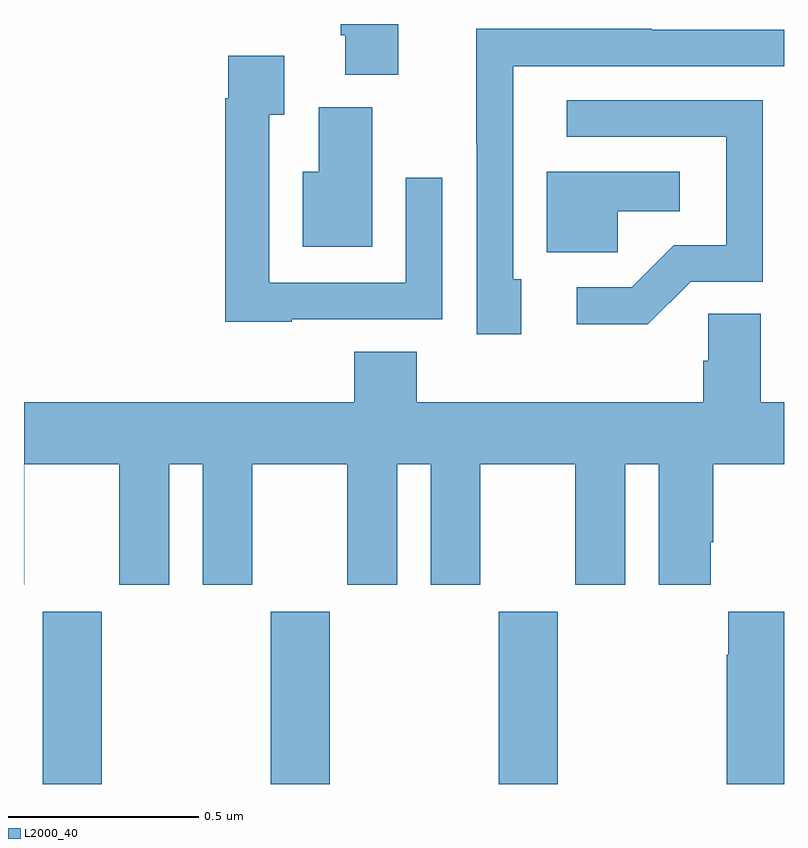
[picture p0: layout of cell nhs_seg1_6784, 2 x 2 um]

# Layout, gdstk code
import gdstk
lib = gdstk.Library(unit=1e-6, precision=1e-09)
def R(c, l, rs):  # rectangles x0, y0, x1, y1
    for r in rs: c.add(gdstk.rectangle(r[:2], r[2:], *l))
def A(c, l, x, y, w, h, nx, ny, dx, dy):  # array of equal rectangles
    R(c, l, [(x+i*dx, y+j*dy, x+i*dx+w, y+j*dy+h) for i in range(nx) for j in range(ny)])
def P(c, l, *ps):  # polygons
    for p in ps: c.add(gdstk.Polygon(p, *l))
L2000_40 = (2000, 40)

nhs_seg1_6784 = lib.new_cell('nhs_seg1_6784')
A(nhs_seg1_6784, L2000_40, 195.049, 576.199, 0.155, 0.453, 3, 1, 0.6, 0)
P(nhs_seg1_6784, L2000_40, [(195.985,578.199),(195.833,578.199),(195.833,578.17),(195.845,578.17),(195.845,578.065),(195.985,578.065)],
  [(196.309,577.527),(196.287,577.527),(196.287,578.088),(197,578.088),(197,578.184),(196.652,578.184),(196.652,578.186),(196.19,578.186),(196.19,577.882),(196.191,577.882),(196.191,577.383),(196.309,577.383)],
  [(195.705,577.422),(196.101,577.422),(196.101,577.795),(196.005,577.795),(196.005,577.518),(195.645,577.518),(195.645,577.96),(195.685,577.96),(195.685,578.116),(195.537,578.116),(195.537,578.003),(195.529,578.003),(195.529,577.415),(195.705,577.415)],
  [(196.755,577.521),(196.944,577.521),(196.944,577.998),(196.428,577.998),(196.428,577.902),(196.848,577.902),(196.848,577.617),(196.71,577.617),(196.599,577.506),(196.455,577.506),(196.455,577.409),(196.642,577.409)],
  [(195.916,577.98),(195.776,577.98),(195.776,577.81),(195.734,577.81),(195.734,577.613),(195.916,577.613)],
  [(196.563,577.706),(196.726,577.706),(196.726,577.81),(196.376,577.81),(196.376,577.599),(196.563,577.599)],
  [(195.001,577.04),(195.251,577.04),(195.251,576.723),(195.382,576.723),(195.382,577.04),(195.47,577.04),(195.47,576.723),(195.601,576.723),(195.601,577.04),(195.851,577.04),(195.851,576.723),(195.982,576.723),(195.982,577.04),(196.07,577.04),(196.07,576.723),(196.201,576.723),(196.201,577.04),(196.451,577.04),(196.451,576.723),(196.582,576.723),(196.582,577.04),(196.67,577.04),(196.67,576.723),(196.807,576.723),(196.807,576.835),(196.814,576.835),(196.814,577.04),(197,577.04),(197,577.204),(196.939,577.204),(196.939,577.436),(196.8,577.436),(196.8,577.313),(196.787,577.313),(196.787,577.204),(196.034,577.204),(196.034,577.337),(195.869,577.337),(195.869,577.204),(195,577.204),(195,576.723),(195.001,576.723)],
  [(197,576.652),(196.853,576.652),(196.853,576.539),(196.849,576.539),(196.849,576.199),(197,576.199)])

lib.write_gds('nhs_seg1_6784.gds')
